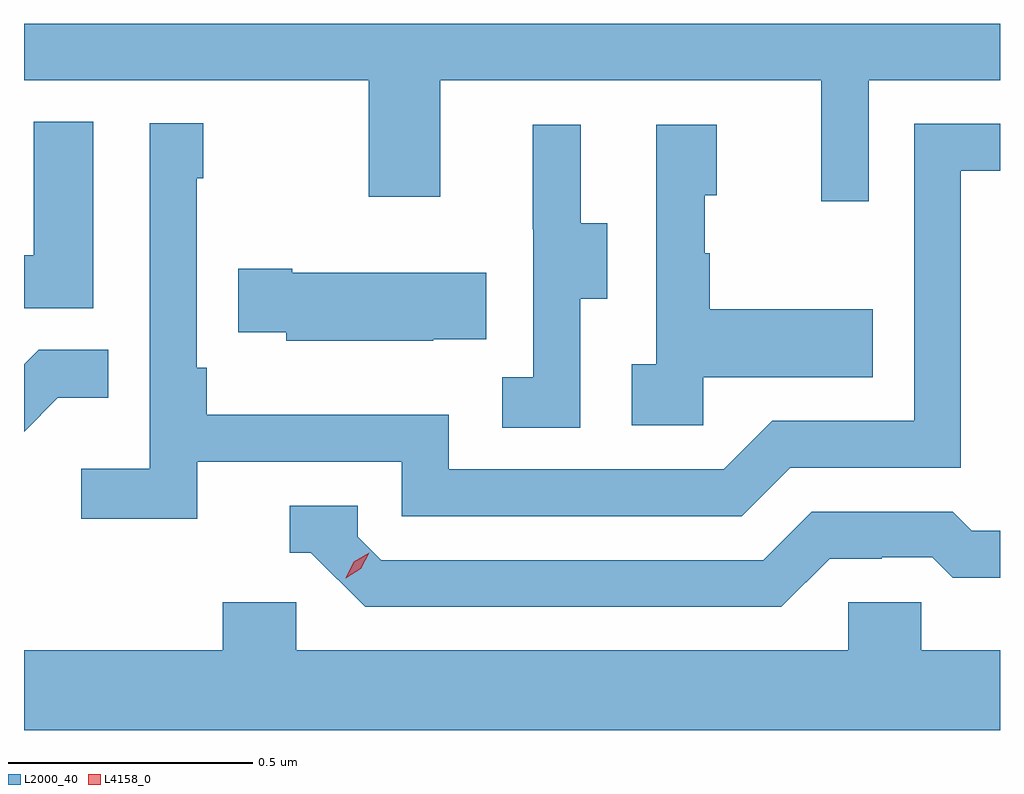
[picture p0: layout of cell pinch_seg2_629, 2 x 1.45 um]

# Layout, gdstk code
import gdstk
lib = gdstk.Library(unit=1e-6, precision=1e-09)
def P(c, l, *ps):  # polygons
    for p in ps: c.add(gdstk.Polygon(p, *l))
L2000_40 = (2000, 40)
L4158_0 = (4158, 0)

pinch_seg2_629 = lib.new_cell('pinch_seg2_629')
P(pinch_seg2_629, L2000_40, [(1037.979,617),(1038.248,617),(1038.248,617.116),(1036.248,617.116),(1036.248,617),(1036.954,617),(1036.954,616.761),(1037.101,616.761),(1037.101,617),(1037.882,617),(1037.882,616.752),(1037.979,616.752)],
  [(1036.39,616.915),(1036.268,616.915),(1036.268,616.642),(1036.248,616.642),(1036.248,616.533),(1036.39,616.533)],
  [(1036.603,616.218),(1037.022,616.218),(1037.022,616.107),(1037.719,616.107),(1037.818,616.206),(1038.168,616.206),(1038.168,616.815),(1038.248,616.815),(1038.248,616.911),(1038.072,616.911),(1038.072,616.302),(1037.781,616.302),(1037.682,616.203),(1037.118,616.203),(1037.118,616.315),(1036.622,616.315),(1036.622,616.411),(1036.602,616.411),(1036.602,616.799),(1036.615,616.799),(1036.615,616.912),(1036.506,616.912),(1036.506,616.204),(1036.365,616.204),(1036.365,616.102),(1036.603,616.102)],
  [(1037.64,616.391),(1037.987,616.391),(1037.987,616.531),(1037.653,616.531),(1037.653,616.646),(1037.643,616.646),(1037.643,616.764),(1037.668,616.764),(1037.668,616.909),(1037.544,616.909),(1037.544,616.418),(1037.493,616.418),(1037.493,616.293),(1037.64,616.293)],
  [(1037.388,616.552),(1037.443,616.552),(1037.443,616.707),(1037.389,616.707),(1037.389,616.909),(1037.291,616.909),(1037.291,616.695),(1037.292,616.695),(1037.292,616.391),(1037.228,616.391),(1037.228,616.288),(1037.388,616.288)],
  [(1037.087,616.469),(1037.195,616.469),(1037.195,616.606),(1036.798,616.606),(1036.798,616.614),(1036.687,616.614),(1036.687,616.484),(1036.785,616.484),(1036.785,616.466),(1037.087,616.466)],
  [(1036.317,616.349),(1036.421,616.349),(1036.421,616.448),(1036.278,616.448),(1036.248,616.418),(1036.248,616.28)],
  [(1037.899,616.02),(1038.006,616.02),(1038.006,616.023),(1038.109,616.023),(1038.151,615.981),(1038.248,615.981),(1038.248,616.077),(1038.19,616.077),(1038.151,616.116),(1037.862,616.116),(1037.763,616.017),(1036.98,616.017),(1036.932,616.065),(1036.932,616.128),(1036.793,616.128),(1036.793,616.032),(1036.836,616.032),(1036.947,615.921),(1037.8,615.921)],
  [(1038.248,615.832),(1038.087,615.832),(1038.087,615.93),(1037.937,615.93),(1037.937,615.832),(1036.806,615.832),(1036.806,615.93),(1036.655,615.93),(1036.655,615.832),(1036.248,615.832),(1036.248,615.668),(1038.248,615.668)])
P(pinch_seg2_629, L4158_0, [(1036.907,615.98),(1036.907,615.981),(1036.924,616.013),(1036.955,616.032),(1036.955,616.032),(1036.955,616.032),(1036.938,615.999),(1036.907,615.98)])

lib.write_gds('pinch_seg2_629.gds')
